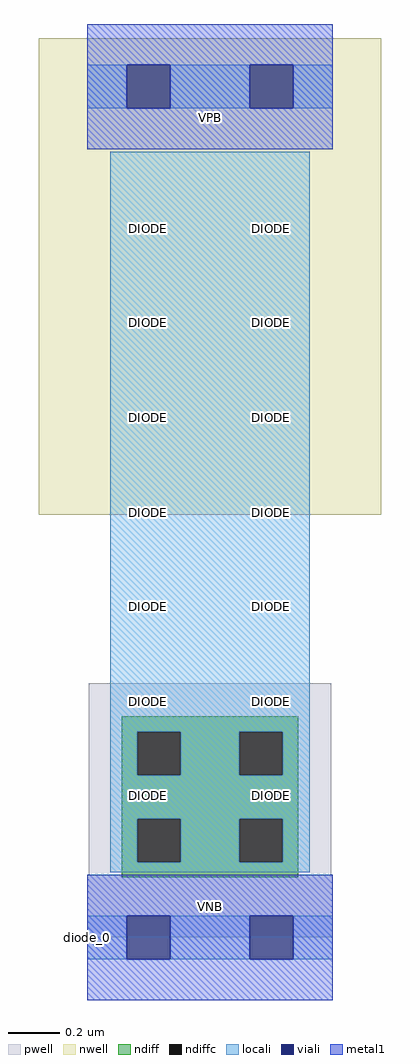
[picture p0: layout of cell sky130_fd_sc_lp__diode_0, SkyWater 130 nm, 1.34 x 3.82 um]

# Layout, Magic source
magic
tech sky130A
magscale 1 2
<< nwell >>
rect -38 331 230 704
<< pwell >>
rect 1 49 191 199
rect 0 0 192 49
<< ndiff >>
rect 27 161 165 173
rect 27 127 39 161
rect 73 127 119 161
rect 153 127 165 161
rect 27 93 165 127
rect 27 59 39 93
rect 73 59 119 93
rect 153 59 165 93
rect 27 47 165 59
<< ndiffc >>
rect 39 127 73 161
rect 119 127 153 161
rect 39 59 73 93
rect 119 59 153 93
<< locali >>
rect 0 649 31 683
rect 65 649 127 683
rect 161 649 192 683
rect 18 161 174 615
rect 18 127 39 161
rect 73 127 119 161
rect 153 127 174 161
rect 18 93 174 127
rect 18 59 39 93
rect 73 59 119 93
rect 153 59 174 93
rect 18 51 174 59
rect 0 -17 31 17
rect 65 -17 127 17
rect 161 -17 192 17
<< viali >>
rect 31 649 65 683
rect 127 649 161 683
rect 31 -17 65 17
rect 127 -17 161 17
<< metal1 >>
rect 0 683 192 715
rect 0 649 31 683
rect 65 649 127 683
rect 161 649 192 683
rect 0 617 192 649
rect 0 17 192 49
rect 0 -17 31 17
rect 65 -17 127 17
rect 161 -17 192 17
rect 0 -49 192 -17
<< labels >>
flabel pwell s 0 0 192 49 0 FreeSans 200 0 0 0 VNB
port 3 nsew ground bidirectional
flabel nwell s 0 617 192 666 0 FreeSans 200 0 0 0 VPB
port 4 nsew power bidirectional
flabel locali s 127 538 161 572 0 FreeSans 200 0 0 0 DIODE
port 1 nsew default bidirectional
flabel locali s 31 168 65 202 0 FreeSans 200 0 0 0 DIODE
port 1 nsew default bidirectional
flabel locali s 127 168 161 202 0 FreeSans 200 0 0 0 DIODE
port 1 nsew default bidirectional
flabel locali s 31 94 65 128 0 FreeSans 200 0 0 0 DIODE
port 1 nsew default bidirectional
flabel locali s 127 464 161 498 0 FreeSans 200 0 0 0 DIODE
port 1 nsew default bidirectional
flabel locali s 127 242 161 276 0 FreeSans 200 0 0 0 DIODE
port 1 nsew default bidirectional
flabel locali s 127 390 161 424 0 FreeSans 200 0 0 0 DIODE
port 1 nsew default bidirectional
flabel locali s 31 390 65 424 0 FreeSans 200 0 0 0 DIODE
port 1 nsew default bidirectional
flabel locali s 31 464 65 498 0 FreeSans 200 0 0 0 DIODE
port 1 nsew default bidirectional
flabel locali s 31 538 65 572 0 FreeSans 200 0 0 0 DIODE
port 1 nsew default bidirectional
flabel locali s 127 94 161 128 0 FreeSans 200 0 0 0 DIODE
port 1 nsew default bidirectional
flabel locali s 31 316 65 350 0 FreeSans 200 0 0 0 DIODE
port 1 nsew default bidirectional
flabel locali s 127 316 161 350 0 FreeSans 200 0 0 0 DIODE
port 1 nsew default bidirectional
flabel locali s 31 242 65 276 0 FreeSans 200 0 0 0 DIODE
port 1 nsew default bidirectional
rlabel comment s 0 0 0 0 4 diode_0
flabel metal1 s 0 617 192 666 0 FreeSans 200 0 0 0 VPWR
port 5 nsew power bidirectional
flabel metal1 s 0 0 192 49 0 FreeSans 200 0 0 0 VGND
port 2 nsew ground bidirectional
<< properties >>
string LEFsite unit
string LEFclass CORE ANTENNACELL
string FIXED_BBOX 0 0 192 666
string GDS_FILE $PDKPATH/libs.ref/sky130_fd_sc_lp/gds/sky130_fd_sc_lp.gds
string LEFsymmetry X Y R90
string GDS_END 4374318
string GDS_START 4370628
<< end >>
